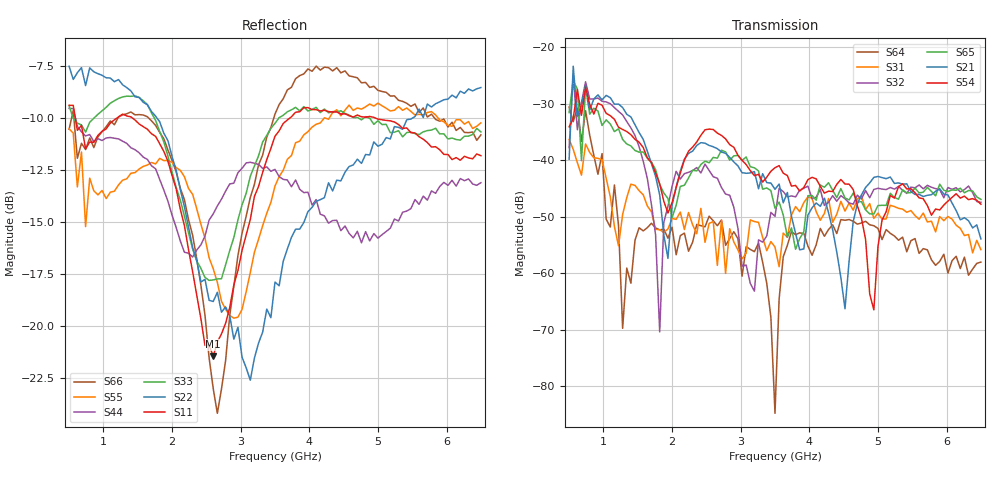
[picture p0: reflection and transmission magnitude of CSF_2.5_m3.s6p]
!Keysight Technologies,M9804A,MY58100912,A.14.10.03
!Date: Thursday, April 27, 2023 10:28:33
!Correction: S11(C  6-Port  )
!S12(C  6-Port  )
!S13(C  6-Port  )
!S14(C  6-Port  )
!S15(C  6-Port  )
!S16(C  6-Port  )
!S21(C  6-Port  )
!S22(C  6-Port  )
!S23(C  6-Port  )
!S24(C  6-Port  )
!S25(C  6-Port  )
!S26(C  6-Port  )
!S31(C  6-Port  )
!S32(C  6-Port  )
!S33(C  6-Port  )
!S34(C  6-Port  )
!S35(C  6-Port  )
!S36(C  6-Port  )
!S41(C  6-Port  )
!S42(C  6-Port  )
!S43(C  6-Port  )
!S44(C  6-Port  )
!S45(C  6-Port  )
!S46(C  6-Port  )
!S51(C  6-Port  )
!S52(C  6-Port  )
!S53(C  6-Port  )
!S54(C  6-Port  )
!S55(C  6-Port  )
!S56(C  6-Port  )
!S61(C  6-Port  )
!S62(C  6-Port  )
!S63(C  6-Port  )
!S64(C  6-Port  )
!S65(C  6-Port  )
!S66(C  6-Port  )
!S6P File: Measurement: :
# Hz S  RI  R 50
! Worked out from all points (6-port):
!   101 points, 500 MHz to 6.5 GHz, reference 50 ohm
!   strongest paths, dB at 500 MHz, 2 GHz, 3.5 GHz, 5 GHz, 6.5 GHz:
!     S54: -34.0, -47.5, -41.3, -55.3, -47.8
!     S21: -39.8, -48.0, -45.1, -42.8, -53.9
!     S65: -31.5, -50.2, -48.5, -48.0, -46.9
!     S32: -37.8, -44.6, -49.9, -44.9, -47.4
!     S31: -36.3, -50.3, -55.3, -49.4, -55.8
!     S64: -30.6, -51.8, -84.8, -52.0, -58.0
!   lowest |S11| = -21.5 dB at 2.6 GHz (marker M1), VSWR 1.18, Z = 42.5 + j2.16 ohm
!   |S11| at or under -10 dB: 591.1 MHz to 1.192 GHz (600.7 MHz wide, 67.4 % of centre); 1.428 GHz to 3.711 GHz (2.283 GHz wide, 88.8 % of centre); 4.973 GHz to end of sweep
